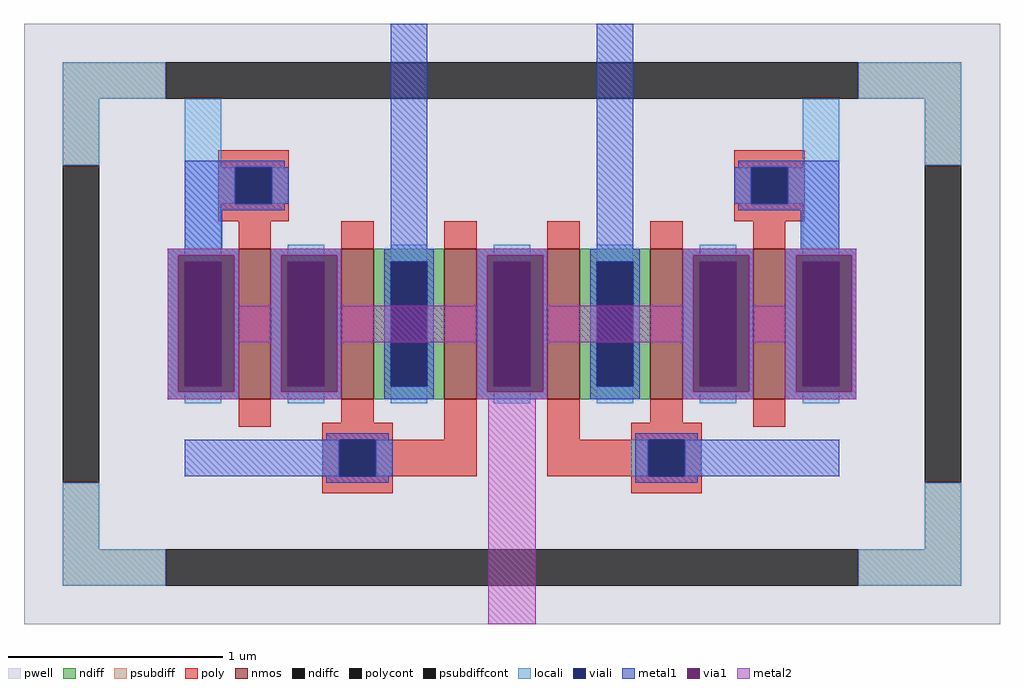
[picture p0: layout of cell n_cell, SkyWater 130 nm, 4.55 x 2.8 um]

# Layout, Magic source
magic
tech sky130A
magscale 1 2
<< pwell >>
rect -455 -280 455 280
<< nmos >>
rect -255 -70 -225 70
rect -159 -70 -129 70
rect -63 -70 -33 70
rect 33 -70 63 70
rect 129 -70 159 70
rect 225 -70 255 70
<< ndiff >>
rect -321 58 -255 70
rect -321 -58 -305 58
rect -271 -58 -255 58
rect -321 -70 -255 -58
rect -225 58 -159 70
rect -225 -58 -209 58
rect -175 -58 -159 58
rect -225 -70 -159 -58
rect -129 58 -63 70
rect -129 -58 -113 58
rect -79 -58 -63 58
rect -129 -70 -63 -58
rect -33 58 33 70
rect -33 -58 -17 58
rect 17 -58 33 58
rect -33 -70 33 -58
rect 63 58 129 70
rect 63 -58 79 58
rect 113 -58 129 58
rect 63 -70 129 -58
rect 159 58 225 70
rect 159 -58 175 58
rect 209 -58 225 58
rect 159 -70 225 -58
rect 255 58 321 70
rect 255 -58 271 58
rect 305 -58 321 58
rect 255 -70 321 -58
<< ndiffc >>
rect -305 -58 -271 58
rect -209 -58 -175 58
rect -113 -58 -79 58
rect -17 -58 17 58
rect 79 -58 113 58
rect 175 -58 209 58
rect 271 -58 305 58
<< psubdiff >>
rect -419 210 -323 244
rect 323 210 419 244
rect -419 148 -385 210
rect 385 148 419 210
rect -419 -210 -385 -148
rect 385 -210 419 -148
rect -419 -244 -323 -210
rect 323 -244 419 -210
<< psubdiffcont >>
rect -323 210 323 244
rect -419 -148 -385 148
rect 385 -148 419 148
rect -323 -244 323 -210
<< poly >>
rect -274 146 -208 162
rect -274 112 -258 146
rect -224 112 -208 146
rect -274 96 -208 112
rect 207 146 273 162
rect 207 112 223 146
rect 257 112 273 146
rect 207 96 273 112
rect -255 70 -225 96
rect -159 70 -129 96
rect -63 70 -33 96
rect 33 70 63 96
rect 129 70 159 96
rect 225 70 255 96
rect -255 -96 -225 -70
rect -159 -92 -129 -70
rect -177 -108 -111 -92
rect -63 -108 -33 -70
rect -177 -142 -161 -108
rect -127 -142 -33 -108
rect 33 -108 63 -70
rect 129 -92 159 -70
rect 111 -108 177 -92
rect 225 -96 255 -70
rect 33 -142 127 -108
rect 161 -142 177 -108
rect -177 -158 -111 -142
rect 111 -158 177 -142
<< polycont >>
rect -258 112 -224 146
rect 223 112 257 146
rect -161 -142 -127 -108
rect 127 -142 161 -108
<< locali >>
rect -419 210 -323 244
rect 323 210 419 244
rect -419 148 -385 210
rect -305 146 -271 210
rect 271 146 305 210
rect -305 112 -258 146
rect -224 112 -208 146
rect 207 112 223 146
rect 257 112 305 146
rect -305 58 -271 112
rect -305 -74 -271 -58
rect -209 58 -175 74
rect -209 -74 -175 -58
rect -113 58 -79 74
rect -113 -74 -79 -58
rect -17 58 17 74
rect -17 -74 17 -58
rect 79 58 113 74
rect 79 -74 113 -58
rect 175 58 209 74
rect 175 -74 209 -58
rect 271 58 305 112
rect 271 -74 305 -58
rect 385 148 419 210
rect -177 -142 -161 -108
rect -127 -142 -111 -108
rect 111 -142 127 -108
rect 161 -142 177 -108
rect -419 -210 -385 -148
rect 385 -210 419 -148
rect -419 -244 -323 -210
rect 323 -244 419 -210
<< viali >>
rect -258 112 -224 146
rect 223 112 257 146
rect -305 -58 -271 58
rect -209 -58 -175 58
rect -113 -58 -79 58
rect -17 -58 17 58
rect 79 -58 113 58
rect 175 -58 209 58
rect 271 -58 305 58
rect -161 -142 -127 -108
rect 127 -142 161 -108
<< metal1 >>
rect -305 146 -212 152
rect -305 112 -258 146
rect -224 112 -208 146
rect -305 106 -212 112
rect -305 70 -270 106
rect -113 70 -79 280
rect 79 70 113 280
rect 211 146 305 152
rect 207 112 223 146
rect 257 112 305 146
rect 211 106 305 112
rect 269 70 305 106
rect -321 64 -255 70
rect -321 -63 -311 64
rect -259 -63 -255 64
rect -321 -70 -255 -63
rect -225 64 -159 70
rect -225 -63 -215 64
rect -163 -63 -159 64
rect -225 -70 -159 -63
rect -119 58 -73 70
rect -119 -58 -113 58
rect -79 -58 -73 58
rect -119 -70 -73 -58
rect -33 64 33 70
rect -33 -63 -23 64
rect 29 -63 33 64
rect -33 -70 33 -63
rect 73 58 119 70
rect 73 -58 79 58
rect 113 -58 119 58
rect 73 -70 119 -58
rect 159 64 225 70
rect 159 -63 169 64
rect 221 -63 225 64
rect 159 -70 225 -63
rect 255 64 321 70
rect 255 -63 265 64
rect 317 -63 321 64
rect 255 -70 321 -63
rect -173 -108 -115 -102
rect 115 -108 173 -102
rect -305 -142 -161 -108
rect -127 -142 -111 -108
rect 115 -142 127 -108
rect 161 -142 305 -108
rect -173 -148 -115 -142
rect 115 -148 173 -142
<< via1 >>
rect -311 58 -259 64
rect -311 -58 -305 58
rect -305 -58 -271 58
rect -271 -58 -259 58
rect -311 -63 -259 -58
rect -215 58 -163 64
rect -215 -58 -209 58
rect -209 -58 -175 58
rect -175 -58 -163 58
rect -215 -63 -163 -58
rect -23 58 29 64
rect -23 -58 -17 58
rect -17 -58 17 58
rect 17 -58 29 58
rect -23 -63 29 -58
rect 169 58 221 64
rect 169 -58 175 58
rect 175 -58 209 58
rect 209 -58 221 58
rect 169 -63 221 -58
rect 265 58 317 64
rect 265 -58 271 58
rect 271 -58 305 58
rect 305 -58 317 58
rect 265 -63 317 -58
<< metal2 >>
rect -321 64 -255 70
rect -321 -63 -311 64
rect -259 17 -255 64
rect -225 64 -159 70
rect -225 17 -215 64
rect -259 -17 -215 17
rect -259 -63 -255 -17
rect -321 -70 -255 -63
rect -225 -63 -215 -17
rect -163 17 -159 64
rect -33 64 33 70
rect -33 17 -23 64
rect -163 -17 -23 17
rect -163 -63 -159 -17
rect -225 -70 -159 -63
rect -33 -63 -23 -17
rect 29 17 33 64
rect 159 64 225 70
rect 159 17 169 64
rect 29 -17 169 17
rect 29 -63 33 -17
rect -33 -70 33 -63
rect 159 -63 169 -17
rect 221 17 225 64
rect 255 64 321 70
rect 255 17 265 64
rect 221 -17 265 17
rect 221 -63 225 -17
rect 159 -70 225 -63
rect 255 -63 265 -17
rect 317 -63 321 64
rect 255 -70 321 -63
rect -22 -280 22 -70
<< properties >>
string FIXED_BBOX -402 -227 402 227
string gencell sky130_fd_pr__nfet_01v8
string library sky130
string parameters w 0.7 l 0.150 m 1 nf 6 diffcov 100 polycov 100 guard 1 glc 1 grc 1 gtc 1 gbc 1 tbcov 100 rlcov 100 topc 1 botc 1 poverlap 0 doverlap 1 lmin 0.15 wmin 0.42 compatible {sky130_fd_pr__nfet_01v8 sky130_fd_pr__nfet_01v8_lvt  sky130_fd_bs_flash__special_sonosfet_star  sky130_fd_pr__nfet_g5v0d10v5 sky130_fd_pr__nfet_05v0_nvt  sky130_fd_pr__nfet_03v3_nvt} full_metal 1 viasrc 100 viadrn 100 viagate 100 viagb 0 viagr 0 viagl 0 viagt 0
<< end >>
